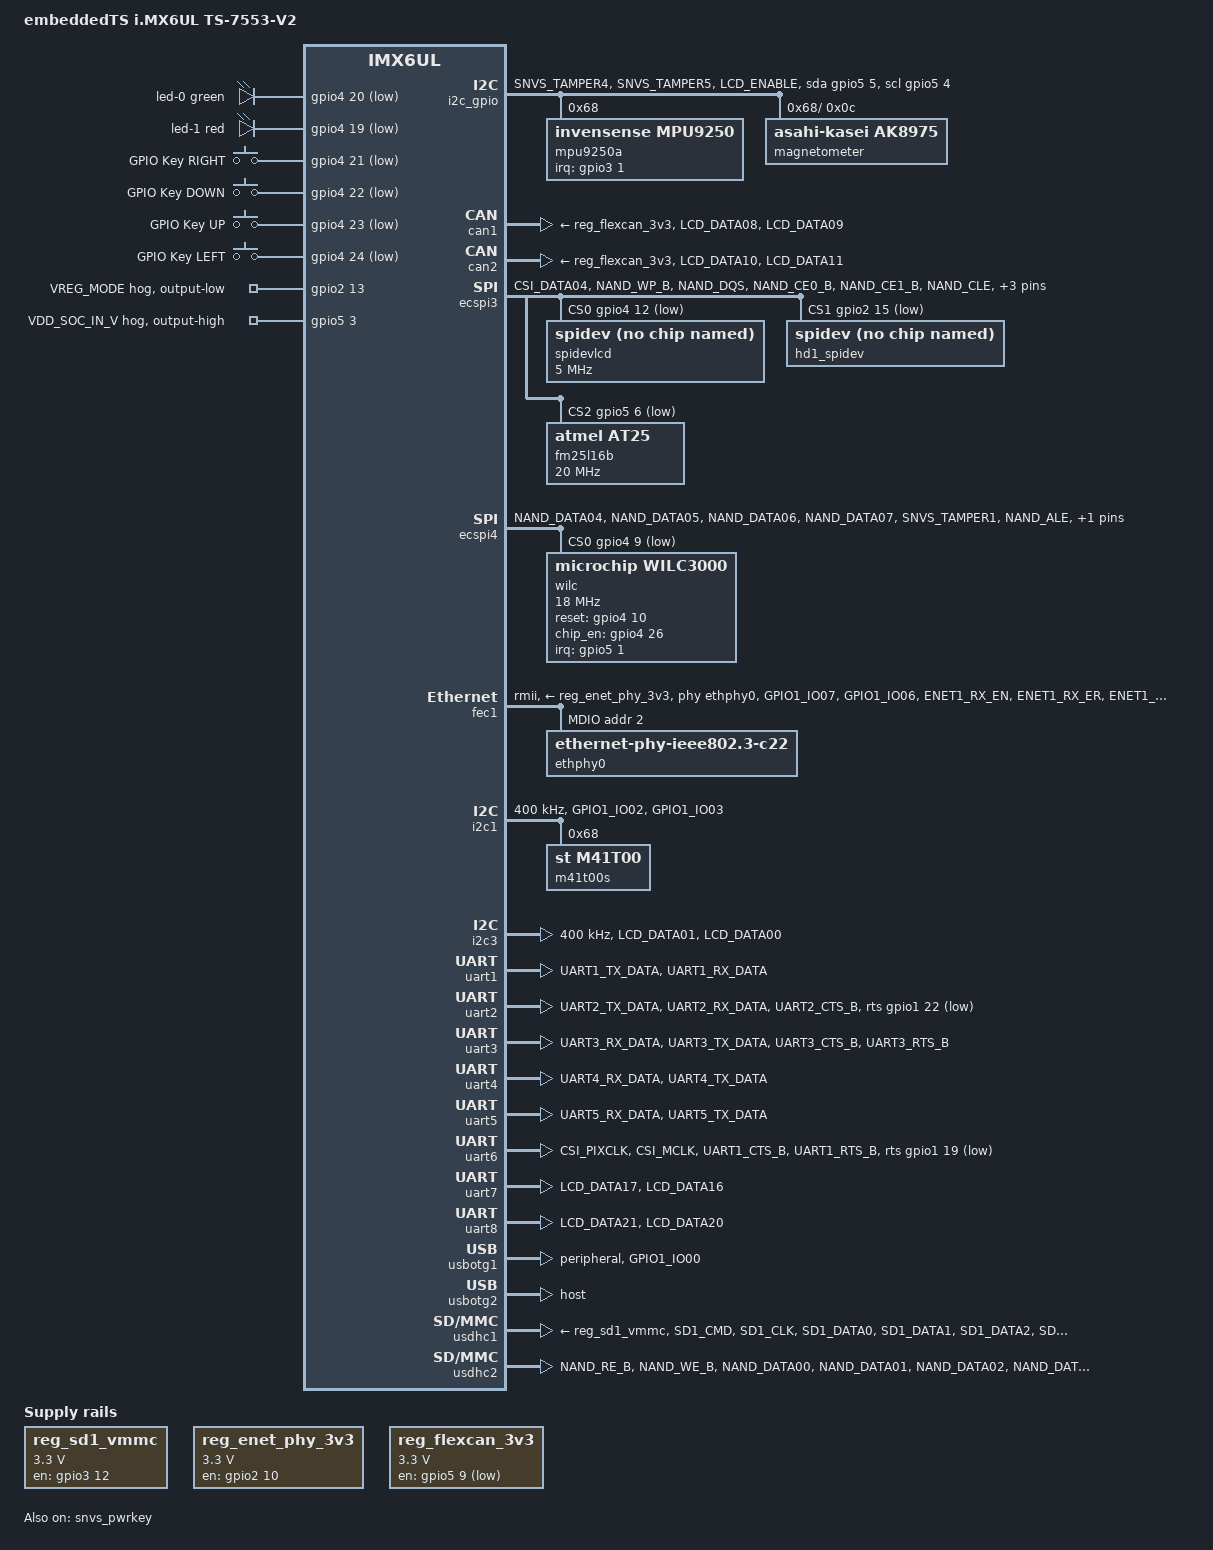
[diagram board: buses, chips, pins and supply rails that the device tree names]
// SPDX-License-Identifier: GPL-2.0 OR X11
/*
 * Copyright (C) 2023 Technologic Systems, Inc. dba embeddedTS
 */

/dts-v1/;
#include <dt-bindings/input/input.h>
#include <dt-bindings/leds/common.h>
#include "imx6ul.dtsi"

/ {
	model = "embeddedTS i.MX6UL TS-7553-V2";
	compatible = "technologic,ts7553v2", "fsl,imx6ul";

	chosen {
		stdout-path = &uart1;
	};

	memory@80000000 {
		device_type = "memory";
		reg = <0x80000000 0>; /* will be filled by U-Boot */
	};

	led-controller {
		compatible = "gpio-leds";
		pinctrl-names = "default";
		pinctrl-0 = <&pinctrl_gpio_leds>;

		led-0 {
			color = <LED_COLOR_ID_GREEN>;
			function = LED_FUNCTION_POWER;
			gpios = <&gpio4 20 GPIO_ACTIVE_LOW>;
			default-state = "on";
		};

		led-1 {
			color = <LED_COLOR_ID_RED>;
			function = LED_FUNCTION_INDICATOR;
			gpios = <&gpio4 19 GPIO_ACTIVE_LOW>;
			default-state = "off";
		};
	};

	keys {
		compatible = "gpio-keys";
		pinctrl-names = "default";
		pinctrl-0 = <&pinctrl_gpio_keys>;

		/*
		 * The keypad may be oriented in one of two ways (depending on
		 * how the HMI enclosure is rotated when mounted) resulting
		 * in the swapping of left/right and up/down. The following
		 * keycodes assume the unit is mounted with the keypad above
		 * the LCD. With a wall mount of the HMI enclosure, this would
		 * put the TS-7553-V2 I/O connectors pointing toward the ground.
		 */
		key-0 {
			label = "GPIO Key RIGHT";
			gpios = <&gpio4 21 GPIO_ACTIVE_LOW>;
			linux,code = <KEY_RIGHT>;
			debounce-interval = <20>;
			wakeup-source;
		};

		key-1 {
			label = "GPIO Key DOWN";
			gpios = <&gpio4 22 GPIO_ACTIVE_LOW>;
			linux,code = <KEY_DOWN>;
			debounce-interval = <20>;
			wakeup-source;
		};

		key-2 {
			label = "GPIO Key UP";
			gpios = <&gpio4 23 GPIO_ACTIVE_LOW>;
			linux,code = <KEY_UP>;
			debounce-interval = <20>;
			wakeup-source;
		};

		key-3 {
			label = "GPIO Key LEFT";
			gpios = <&gpio4 24 GPIO_ACTIVE_LOW>;
			linux,code = <KEY_LEFT>;
			debounce-interval = <20>;
			wakeup-source;
		};
	};

	reg_sd1_vmmc: regulator-sd1-vmmc {
		compatible = "regulator-fixed";
		regulator-name = "SD1_3V3";
		regulator-min-microvolt = <3300000>;
		regulator-max-microvolt = <3300000>;
		gpio = <&gpio3 12 GPIO_ACTIVE_HIGH>;
		enable-active-high;
	};

	reg_enet_phy_3v3: regulator-phy {
		compatible = "regulator-fixed";
		pinctrl-names = "default";
		pinctrl-0 = <&pinctrl_enet_3v3>;
		regulator-name = "ENET_3V3";
		regulator-min-microvolt = <3300000>;
		regulator-max-microvolt = <3300000>;
		gpio = <&gpio2 10 GPIO_ACTIVE_HIGH>;
		enable-active-high;
	};

	reg_flexcan_3v3: regulator-can-3v3 {
		compatible = "regulator-fixed";
		pinctrl-names = "default";
		pinctrl-0 = <&pinctrl_flexcan_3v3>;
		regulator-name = "CAN_EN";
		regulator-min-microvolt = <3300000>;
		regulator-max-microvolt = <3300000>;
		gpio = <&gpio5 9 GPIO_ACTIVE_LOW>;
	};

	i2c_gpio: i2c {
		compatible = "i2c-gpio";
		#address-cells = <1>;
		#size-cells = <0>;
		pinctrl-names = "default";
		pinctrl-0 = <&pinctrl_i2cgpio>;
		sda-gpios = <&gpio5 5 (GPIO_ACTIVE_HIGH|GPIO_OPEN_DRAIN)>;
		scl-gpios = <&gpio5 4 (GPIO_ACTIVE_HIGH|GPIO_OPEN_DRAIN)>;

		mpu9250a: imu@68 {
			compatible = "invensense,mpu9250";
			reg = <0x68>;
			interrupt-parent = <&gpio3>;
			interrupts = <1 IRQ_TYPE_EDGE_RISING>;
			i2c-gate {
				#address-cells = <1>;
				#size-cells = <0>;
				magnetometer@c {
					compatible = "asahi-kasei,ak8975";
					reg = <0xc>;
				};
			};
		};
	};
};

&can1 {
	pinctrl-names = "default";
	pinctrl-0 = <&pinctrl_flexcan1>;
	xceiver-supply = <&reg_flexcan_3v3>;
	status = "okay";
};

&can2 {
	pinctrl-names = "default";
	pinctrl-0 = <&pinctrl_flexcan2>;
	xceiver-supply = <&reg_flexcan_3v3>;
	status = "okay";
};

&ecspi3 {
	num-cs = <3>;
	cs-gpios = <&gpio4 12 GPIO_ACTIVE_LOW
		    &gpio2 15 GPIO_ACTIVE_LOW
		    &gpio5 6 GPIO_ACTIVE_LOW>;
	pinctrl-names = "default";
	pinctrl-0 = <&pinctrl_ecspi3>;
	status = "okay";

	/* CS# 0 is SPI LCD interface */
	spidevlcd: spi@0 {
		compatible = "spidev";
		reg = <0>;
		spi-max-frequency = <5000000>;
	};

	/* CS# 1 is HD1 pin header SPI interface */
	hd1_spidev: spidev@1 {
		compatible = "spidev";
		reg = <1>;
	};

	fm25l16b: eeprom@2 {
		compatible = "atmel,at25";
		reg = <2>;
		spi-max-frequency = <20000000>;
		size = <0x800>;
		address-width = <16>;
		pagesize = <64>;
	};
};

&ecspi4 {
	num-cs = <1>;
	cs-gpios = <&gpio4 9 GPIO_ACTIVE_LOW>;
	pinctrl-names = "default";
	pinctrl-0 = <&pinctrl_ecspi4>;
	status = "okay";

	wilc: wifi@0 {
		compatible = "microchip,wilc3000";
		reg = <0>;
		spi-max-frequency = <18000000>;
		reset-gpios = <&gpio4 10 GPIO_ACTIVE_HIGH>;
		chip_en-gpios = <&gpio4 26 GPIO_ACTIVE_HIGH>;
		interrupt-parent = <&gpio5>;
		interrupts = <1 GPIO_ACTIVE_HIGH>;
	};
};

&fec1 {
	pinctrl-names = "default";
	pinctrl-0 = <&pinctrl_enet>;
	phy-mode = "rmii";
	phy-handle = <&ethphy0>;
	phy-supply = <&reg_enet_phy_3v3>;
	/* These are needed in 5.10 and should probably go away upstream */
	phy-reset-gpios = <&gpio1 4 GPIO_ACTIVE_LOW>;
	phy-reset-duration = <10>;
	status = "okay";
	mdio {
		#address-cells = <1>;
		#size-cells = <0>;

		ethphy0: ethernet-phy@2 {
			compatible = "ethernet-phy-ieee802.3-c22";
			reg = <2>;
			micrel,led-mode = <1>;
			clocks = <&clks IMX6UL_CLK_ENET_REF>;
			clock-names = "rmii-ref";
			/* The above reset stuff should be replaced with these
			 * reset-gpios = <&gpio1 4 GPIO_ACTIVE_HIGH>;
			 * reset-assert-us = <10000>;
			 * reset-deassert-us = <100>;
			 */
		};
	};
};

&gpio1 {
	gpio-line-names = "", "USB_5V_EN", "", "", "", "", "", "",
		"MODEM_5V_EN", "XBEE_3V3_EN", "", "", "", "", "", "", "", "",
		"", "", "", "", "", "RS232_XCEIVER_EN";
};

&gpio2 {
	gpio-line-names = "", "", "", "", "", "", "", "",
		"XBEE_PIN_9", "XBEE_PIN_16", "", "", "", "",
		"XBEE_PIN_12";

	/*
	 * Let the main 5 V reg automatically switch between PWM and PFM modes.
	 * This saves ~60 mW of power across various states at 12 V input.
	 * Note that PFM mode could cause issues with fast transients, PWM mode
	 * doesn't kick in until ~700 mA consumption on the regulator. Setting
	 * this to output-high; will force PWM mode
	 */
	vreg-mode-hog {
		gpio-hog;
		gpios = <13 GPIO_ACTIVE_HIGH>;
		output-low;
		line-name = "VREG_MODE";
	};
};

&gpio3 {
	gpio-line-names = "USB_HUB_RESET#", "", "", "", "", "", "",
		"USB_MUX_CPU_OTG", "", "", "", "NO_CHRG_JMP#", "", "", "", "",
		"", "SD_BOOT_JMP#", "PUSH_SW_CPU#", "U_BOOT_JMP#", "XBEE_RESET#",
		"", "", "RES_STRAP_0", "RES_STRAP_1", "", "",
		"RES_STRAP_2", "RES-STRAP_3";
};

&gpio5 {
	gpio-line-names = "POWER_FAIL#", "", "EMMC_PWR_EN", "", "", "", "",
		"XBEE_USB_EN#", "RELAY_EN";

	vdd-soc-in-v-hog {
		gpio-hog;
		gpios = <3 GPIO_ACTIVE_HIGH>;
		output-high;
		line-name = "VDD_SOC_IN_V";
	};
};

&i2c1 {
	pinctrl-names = "default";
	pinctrl-0 = <&pinctrl_i2c1>;
	clock-frequency = <400000>;
	status = "okay";

	m41t00s: rtc@68 {
		compatible = "st,m41t00";
		reg = <0x68>;
	};
};

&i2c3 {
	clock-frequency = <400000>;
	pinctrl-names = "default";
	pinctrl-0 = <&pinctrl_i2c3>;
	status = "okay";
};

&iomuxc {
	pinctrl-names = "default";
	pinctrl-0 = <&pinctrl_hog>;

	pinctrl_hog: hoggrp {
		fsl,pins = <
			/* Reserved signals */
			MX6UL_PAD_ENET2_TX_EN__GPIO2_IO13	0x1b020
			MX6UL_PAD_ENET2_TX_DATA1__GPIO2_IO12	0x1a020
			MX6UL_PAD_LCD_DATA03__GPIO3_IO08	0x1a020
			MX6UL_PAD_LCD_DATA04__GPIO3_IO09	0x1a020
			MX6UL_PAD_LCD_DATA05__GPIO3_IO10	0x1a020
			MX6UL_PAD_CSI_DATA07__GPIO4_IO28	0x13020
			MX6UL_PAD_JTAG_TCK__GPIO1_IO14		0x1b020
			MX6UL_PAD_JTAG_TDI__GPIO1_IO13		0x1b020
			MX6UL_PAD_JTAG_TDO__GPIO1_IO12		0x1b020
			MX6UL_PAD_JTAG_TMS__GPIO1_IO11		0x1b020
			MX6UL_PAD_JTAG_MOD__GPIO1_IO10		0x1a020
			MX6UL_PAD_JTAG_TRST_B__GPIO1_IO15	0x1b020


			/* Has hardware pull resistor */
			MX6UL_PAD_LCD_DATA14__GPIO3_IO19	0x1a020 /* U_BOOT_JMP#_ */
			MX6UL_PAD_LCD_DATA06__GPIO3_IO11	0x1a020 /* NO_CHRG_JMP# */
			MX6UL_PAD_LCD_DATA12__GPIO3_IO17	0x1a020 /* SD_BOOT_JMP# */
			MX6UL_PAD_LCD_DATA02__GPIO3_IO07	0x1a020 /* 6UL_TO_USB_DEV */
			MX6UL_PAD_GPIO1_IO08__GPIO1_IO08	0x1a020 /* MODEM 5 v */
			MX6UL_PAD_GPIO1_IO09__GPIO1_IO09	0x1a020 /* XBee 3.3 v */
			MX6UL_PAD_SNVS_TAMPER2__GPIO5_IO02	0x1a020 /* eMMC En. */
			MX6UL_PAD_SNVS_TAMPER3__GPIO5_IO03	0x1b0a0

			/* Needs internal pull resistor */
			MX6UL_PAD_LCD_DATA18__GPIO3_IO23	0x1b020 /* RES_STRAP_0 */
			MX6UL_PAD_LCD_DATA19__GPIO3_IO24	0x1b020 /* RES_STRAP_1 */
			MX6UL_PAD_LCD_DATA22__GPIO3_IO27	0x1b020 /* RES_STRAP_2 */
			MX6UL_PAD_LCD_DATA23__GPIO3_IO28	0x1b020 /* RES_STRAP_3 */
			MX6UL_PAD_LCD_DATA15__GPIO3_IO20	0x1b020 /* XBEE_RESET# */
			MX6UL_PAD_SNVS_TAMPER7__GPIO5_IO07	0x1b020 /* XBEE_USB_EN# */
			MX6UL_PAD_ENET2_TX_CLK__GPIO2_IO14	0x1b020 /* XBEE_DIO_8 */
			MX6UL_PAD_ENET2_RX_DATA0__GPIO2_IO08	0x1b020 /* XBEE_DIO_7 */
			MX6UL_PAD_ENET2_RX_DATA1__GPIO2_IO09	0x1b020 /* XBEE_DIO_6 */
			MX6UL_PAD_SNVS_TAMPER8__GPIO5_IO08	0x1a020 /* RELAY_EN */
			MX6UL_PAD_GPIO1_IO01__GPIO1_IO01	0x1b020 /* USB 5v EN */
			MX6UL_PAD_LCD_CLK__GPIO3_IO00		0x1b020 /* USB_HUB_RESET# */
			MX6UL_PAD_ENET2_TX_DATA0__REF_CLK_24M	0x1b020 /* USB hub */
			MX6UL_PAD_LCD_DATA13__GPIO3_IO18	0x1a020 /* PUSH_SW_CPU# */
			MX6UL_PAD_UART2_RTS_B__GPIO1_IO23	0x1b020 /* 232_TRANS_EN */
			MX6UL_PAD_SNVS_TAMPER0__GPIO5_IO00	0x1b020 /* POWER_FAIL */
		>;
	};

	pinctrl_ecspi3: ecspi3grp {
		fsl,pins = <
			MX6UL_PAD_CSI_DATA04__GPIO4_IO25	0x1b020 /* LCD_BKLT */
			MX6UL_PAD_NAND_WP_B__GPIO4_IO11		0x1b020 /* LCD_RESET# */
			MX6UL_PAD_NAND_DQS__GPIO4_IO16		0x1b020 /* LCD_CMD# */
			MX6UL_PAD_NAND_CE0_B__ECSPI3_SCLK	0x1b020 /* SPI_3_CLK */
			MX6UL_PAD_NAND_CE1_B__ECSPI3_MOSI	0x1b020 /* SPI_3_MOSI */
			MX6UL_PAD_NAND_CLE__ECSPI3_MISO		0x1b820 /* SPI_3_MISO */
			MX6UL_PAD_NAND_READY_B__GPIO4_IO12	0x1b020 /* LCD CS0# */
			MX6UL_PAD_ENET2_RX_ER__GPIO2_IO15	0x1b020 /* HD1 CS1# */
			MX6UL_PAD_SNVS_TAMPER6__GPIO5_IO06	0x1b020 /* FRAM CS2# */
		>;
	};

	pinctrl_ecspi4: ecspi4grp {
		fsl,pins = <
			MX6UL_PAD_NAND_DATA04__ECSPI4_SCLK	0x1b020
			MX6UL_PAD_NAND_DATA05__ECSPI4_MOSI	0x1b020
			MX6UL_PAD_NAND_DATA06__ECSPI4_MISO	0x1b020
			MX6UL_PAD_NAND_DATA07__GPIO4_IO09	0x1b020 /* WIFI CS# */
			MX6UL_PAD_SNVS_TAMPER1__GPIO5_IO01	0x1b020 /* WIFI IRQ# */
			MX6UL_PAD_NAND_ALE__GPIO4_IO10		0x1b020 /* WIFI RST# */
			MX6UL_PAD_CSI_DATA05__GPIO4_IO26	0x1b020 /* WIFI EN */
		>;
	};

	pinctrl_enet: enetgrp {
		fsl,pins = <
			MX6UL_PAD_GPIO1_IO07__ENET1_MDC		0x1b0b0
			MX6UL_PAD_GPIO1_IO06__ENET1_MDIO	0x1b0b0
			MX6UL_PAD_ENET1_RX_EN__ENET1_RX_EN	0x1b0b0
			MX6UL_PAD_ENET1_RX_ER__ENET1_RX_ER	0x1b0b0
			MX6UL_PAD_ENET1_RX_DATA0__ENET1_RDATA00	0x1b0b0
			MX6UL_PAD_ENET1_RX_DATA1__ENET1_RDATA01	0x1b0b0
			MX6UL_PAD_ENET1_TX_EN__ENET1_TX_EN	0x1b0b0
			MX6UL_PAD_ENET1_TX_DATA0__ENET1_TDATA00	0x1b0b0
			MX6UL_PAD_ENET1_TX_DATA1__ENET1_TDATA01	0x1b0b0
			/* Should be 0x4001b010 or 0x4001b000 for noise */
			MX6UL_PAD_ENET1_TX_CLK__ENET1_REF_CLK1	0x4001b010
		>;
	};

	pinctrl_enet_3v3: enet3v3grp {
		fsl,pins = <
			MX6UL_PAD_ENET2_RX_EN__GPIO2_IO10	0x1b0b0
		>;
	};

	pinctrl_flexcan1: flexcan1grp{
		fsl,pins = <
			MX6UL_PAD_LCD_DATA08__FLEXCAN1_TX	0x1b020
			MX6UL_PAD_LCD_DATA09__FLEXCAN1_RX	0x1b020
		>;
	};

	pinctrl_flexcan2: flexcan2grp{
		fsl,pins = <
			MX6UL_PAD_LCD_DATA10__FLEXCAN2_TX	0x1b020
			MX6UL_PAD_LCD_DATA11__FLEXCAN2_RX	0x1b020
		>;
	};

	pinctrl_flexcan_3v3: flexcan3v3grp {
		fsl,pins = <
			MX6UL_PAD_SNVS_TAMPER9__GPIO5_IO09	0x1b020 /* CAN En. */
		>;
	};

	pinctrl_gpio_keys: gpiokeysgrp {
		fsl,pins = <
			MX6UL_PAD_CSI_DATA00__GPIO4_IO21	0x1a020 /* Right */
			MX6UL_PAD_CSI_DATA01__GPIO4_IO22	0x1a020 /* Down */
			MX6UL_PAD_CSI_DATA02__GPIO4_IO23	0x1a020 /* Up */
			MX6UL_PAD_CSI_DATA03__GPIO4_IO24	0x1a020 /* Left */
		>;
	};

	pinctrl_gpio_leds: gpioledgrp {
		fsl,pins = <
			MX6UL_PAD_CSI_VSYNC__GPIO4_IO19		0x1b020 /* Red LED */
			MX6UL_PAD_CSI_HSYNC__GPIO4_IO20		0x1b020 /* Grn LED */
		>;
	};

	pinctrl_i2c1: i2c1grp {
		fsl,pins = <
			MX6UL_PAD_GPIO1_IO02__I2C1_SCL		0x4001a8b0
			MX6UL_PAD_GPIO1_IO03__I2C1_SDA		0x4001a8b0
		>;
	};

	pinctrl_i2c3: i2c3grp {
		fsl,pins = <
			MX6UL_PAD_LCD_DATA01__I2C3_SCL		0x4001a8b0
			MX6UL_PAD_LCD_DATA00__I2C3_SDA		0x4001a8b0
		>;
	};

	pinctrl_i2cgpio: i2cgpiogrp {
		fsl,pins = <
			MX6UL_PAD_SNVS_TAMPER4__GPIO5_IO04	0x4001a8b0
			MX6UL_PAD_SNVS_TAMPER5__GPIO5_IO05	0x4001a8b0
			MX6UL_PAD_LCD_ENABLE__GPIO3_IO01	0x13020 /* IMU IRQ */
		>;
	};

	pinctrl_uart1: uart1grp {
		fsl,pins = <
			MX6UL_PAD_UART1_TX_DATA__UART1_DCE_TX	0x1b0b1
			MX6UL_PAD_UART1_RX_DATA__UART1_DCE_RX	0x1b0b1
		>;
	};

	pinctrl_uart2: uart2grp {
		fsl,pins = <
			MX6UL_PAD_UART2_TX_DATA__UART2_DCE_TX	0x1b0b1
			MX6UL_PAD_UART2_RX_DATA__UART2_DCE_RX	0x1b0b1
			MX6UL_PAD_UART2_CTS_B__GPIO1_IO22	0x1b0b1
		>;
	};

	pinctrl_uart3: uart3grp {
		fsl,pins = <
			MX6UL_PAD_UART3_RX_DATA__UART3_DCE_RX	0x1b0b1
			MX6UL_PAD_UART3_TX_DATA__UART3_DCE_TX	0x1b0b1
			MX6UL_PAD_UART3_CTS_B__UART3_DCE_CTS	0x1b0b1
			MX6UL_PAD_UART3_RTS_B__UART3_DCE_RTS	0x1b0b1
		>;
	};

	pinctrl_uart4: uart4grp {
		fsl,pins = <
			MX6UL_PAD_UART4_RX_DATA__UART4_DCE_RX	0x1b0b1
			MX6UL_PAD_UART4_TX_DATA__UART4_DCE_TX	0x1b0b1
		>;
	};

	pinctrl_uart5: uart5grp {
		fsl,pins = <
			MX6UL_PAD_UART5_RX_DATA__UART5_DCE_RX	0x1b0b1
			MX6UL_PAD_UART5_TX_DATA__UART5_DCE_TX	0x1b0b1
		>;
	};

	pinctrl_uart6: uart6grp {
		fsl,pins = <
			MX6UL_PAD_CSI_PIXCLK__UART6_DCE_RX	0x1b0b1
			MX6UL_PAD_CSI_MCLK__UART6_DCE_TX	0x1b0b1
			MX6UL_PAD_UART1_CTS_B__GPIO1_IO18	0x1b0b1
			MX6UL_PAD_UART1_RTS_B__GPIO1_IO19	0x1b0b1
		>;
	};

	pinctrl_uart7: uart7grp {
		fsl,pins = <
			MX6UL_PAD_LCD_DATA17__UART7_DCE_RX	0x1b0b1
			MX6UL_PAD_LCD_DATA16__UART7_DCE_TX	0x1b0b1
		>;
	};

	pinctrl_uart8: uart8grp {
		fsl,pins = <
			MX6UL_PAD_LCD_DATA21__UART8_DCE_RX	0x1b0b1
			MX6UL_PAD_LCD_DATA20__UART8_DCE_TX	0x1b0b1
		>;
	};

	pinctrl_usb_otg1_id: usbotg1idgrp {
		/* Wired always high for device mode on TS-7553-V2 */
		fsl,pins = <
			MX6UL_PAD_GPIO1_IO00__ANATOP_OTG1_ID	0x16059
		>;
	};
	pinctrl_usdhc1: usdhc1grp {
		fsl,pins = <
			/* hysteresis, en 47k PU */
			MX6UL_PAD_SD1_CMD__USDHC1_CMD		0x17059
			MX6UL_PAD_SD1_CLK__USDHC1_CLK		0x10071
			MX6UL_PAD_SD1_DATA0__USDHC1_DATA0	0x17059
			MX6UL_PAD_SD1_DATA1__USDHC1_DATA1	0x17059
			MX6UL_PAD_SD1_DATA2__USDHC1_DATA2	0x17059
			MX6UL_PAD_SD1_DATA3__USDHC1_DATA3	0x17059
			MX6UL_PAD_LCD_DATA07__GPIO3_IO12	0x17059 /* EN_SD_POWER */
			MX6UL_PAD_GPIO1_IO05__USDHC1_VSELECT	0x17059
		>;
	};

	pinctrl_usdhc1_100mhz: usdhc1-100mhzgrp {
		fsl,pins = <
			MX6UL_PAD_SD1_CMD__USDHC1_CMD		0x170b9
			MX6UL_PAD_SD1_CLK__USDHC1_CLK		0x100b9
			MX6UL_PAD_SD1_DATA0__USDHC1_DATA0	0x170b9
			MX6UL_PAD_SD1_DATA1__USDHC1_DATA1	0x170b9
			MX6UL_PAD_SD1_DATA2__USDHC1_DATA2	0x170b9
			MX6UL_PAD_SD1_DATA3__USDHC1_DATA3	0x170b9
		>;
	};

	pinctrl_usdhc1_200mhz: usdhc1-200mhzgrp {
		fsl,pins = <
			MX6UL_PAD_SD1_CMD__USDHC1_CMD		0x170f9
			MX6UL_PAD_SD1_CLK__USDHC1_CLK		0x100f9
			MX6UL_PAD_SD1_DATA0__USDHC1_DATA0	0x170f9
			MX6UL_PAD_SD1_DATA1__USDHC1_DATA1	0x170f9
			MX6UL_PAD_SD1_DATA2__USDHC1_DATA2	0x170f9
			MX6UL_PAD_SD1_DATA3__USDHC1_DATA3	0x170f9
		>;
	};

	pinctrl_usdhc2: usdhc2grp {
		fsl,pins = <
			MX6UL_PAD_NAND_RE_B__USDHC2_CLK		0x10069
			MX6UL_PAD_NAND_WE_B__USDHC2_CMD		0x17059
			MX6UL_PAD_NAND_DATA00__USDHC2_DATA0	0x17059
			MX6UL_PAD_NAND_DATA01__USDHC2_DATA1	0x17059
			MX6UL_PAD_NAND_DATA02__USDHC2_DATA2	0x17059
			MX6UL_PAD_NAND_DATA03__USDHC2_DATA3	0x17059
		>;
	};

	pinctrl_wdog1: wdog1grp {
		fsl,pins = <
			MX6UL_PAD_LCD_RESET__WDOG1_WDOG_ANY	0xb8b0
		>;
	};
};

/* Unused, enabled for backward compatibility with ts7553v2-utils */
&snvs_pwrkey {
	status = "okay";
};

&snvs_rtc {
	status = "disabled";
};

&uart1 {
	pinctrl-names = "default";
	pinctrl-0 = <&pinctrl_uart1>;
	status = "okay";
};

&uart2 {
	pinctrl-names = "default";
	pinctrl-0 = <&pinctrl_uart2>;
	/*
	 * Need to use GPIO for TXEN even though CTS is available on this port.
	 * All instances of the UART2 RTS signal have other uses therefore leaving
	 * the UART module RTS_B input unconnected which generates spurious IRQs.
	 * If the imx.c driver is ever adjusted to allow configuration of RTSDEN
	 * then it may be possible to use real CTS here if RTS IRQs are disabled.
	 */
	rts-gpios = <&gpio1 22 GPIO_ACTIVE_LOW>;
	linux,rs485-enabled-at-boot-time;
	status = "okay";
};

&uart3 {
	pinctrl-names = "default";
	pinctrl-0 = <&pinctrl_uart3>;
	uart-has-rtscts;
	status = "okay";
};

&uart4 {
	pinctrl-names = "default";
	pinctrl-0 = <&pinctrl_uart4>;
	status = "okay";
};

&uart5 {
	pinctrl-names = "default";
	pinctrl-0 = <&pinctrl_uart5>;
	status = "okay";
};

&uart6 {
	pinctrl-names = "default";
	pinctrl-0 = <&pinctrl_uart6>;
	cts-gpios = <&gpio1 18 GPIO_ACTIVE_LOW>;
	rts-gpios = <&gpio1 19 GPIO_ACTIVE_LOW>;
	status = "okay";
};

&uart7 {
	pinctrl-names = "default";
	pinctrl-0 = <&pinctrl_uart7>;
	status = "okay";
};

&uart8 {
	pinctrl-names = "default";
	pinctrl-0 = <&pinctrl_uart8>;
	status = "okay";
};

&usbotg1 {
	dr_mode = "peripheral";
	pinctrl-names = "default";
	pinctrl-0 = <&pinctrl_usb_otg1_id>;
	srp-disable;
	hnp-disable;
	adp-disable;
	disable-over-current;
	status = "okay";
};

&usbotg2 {
	dr_mode = "host";
	disable-over-current;
	status = "okay";
};

&usdhc1 {
	pinctrl-names = "default", "state_100mhz", "state_200mhz";
	pinctrl-0 = <&pinctrl_usdhc1>;
	pinctrl-1 = <&pinctrl_usdhc1_100mhz>;
	pinctrl-2 = <&pinctrl_usdhc1_200mhz>;
	disable-wp;
	broken-cd;
	vmmc-supply = <&reg_sd1_vmmc>;
	status = "okay";
};

&usdhc2 {
	pinctrl-names = "default";
	pinctrl-0 = <&pinctrl_usdhc2>;
	no-1-8-v;
	disable-wp;
	broken-cd;
	status = "okay";
};

&wdog1 {
	pinctrl-names = "default";
	pinctrl-0 = <&pinctrl_wdog1>;
	fsl,ext-reset-output;
};
